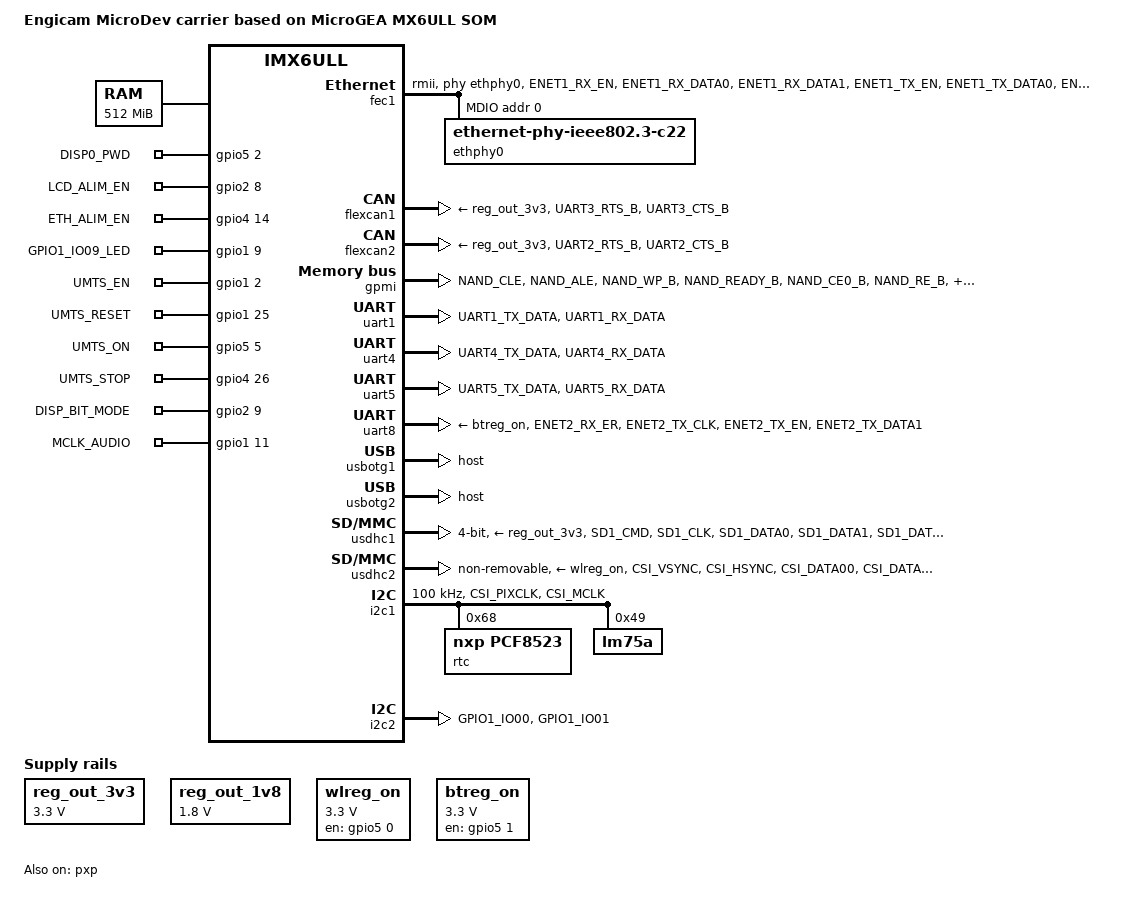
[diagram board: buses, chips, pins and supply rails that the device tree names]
/*
 * Copyright (C) 2015 Freescale Semiconductor, Inc.
 *
 * This program is free software; you can redistribute it and/or modify
 * it under the terms of the GNU General Public License version 2 as
 * published by the Free Software Foundation.
 */

/dts-v1/;

#include <dt-bindings/gpio/gpio.h>
#include <dt-bindings/input/input.h>
#include "imx6ull.dtsi"

/ {
	model = "Engicam MicroDev carrier based on MicroGEA MX6ULL SOM";
	compatible = "fsl,imx6ull-14x14-evk", "fsl,imx6ull";

	chosen {
		stdout-path = &uart1;
	};

	memory {
		reg = <0x80000000 0x20000000>;
	};

	reserved-memory {
		#address-cells = <1>;
		#size-cells = <1>;
		ranges;

		linux,cma {
			compatible = "shared-dma-pool";
			reusable;
			size = <0x4000000>;
			linux,cma-default;
		};
	};

	gpio_export {
		compatible = "gpio-export";
		#size-cells = <0>;
		
		DISP0_PWD {
			gpio-export,name = "DISP0_PWD";
			gpio-export,output = <1>;
			gpios = <&gpio5 2 0>;
		};	

		LCD_ALIM_EN {
			gpio-export,name = "LCD_ALIM_EN";
			gpio-export,output = <1>;
			gpios = <&gpio2 8 0>;
		};	

		ETH_ALIM_EN {
			gpio-export,name = "ETH_ALIM_EN";
			gpio-export,output = <1>;
			gpios = <&gpio4 14 0>;
		};	

		GPIO1_IO09_LED {
			gpio-export,name = "GPIO1_IO09_LED";
			gpio-export,output = <1>;
			gpios = <&gpio1 9 0>;
		};	

		UMTS_EN {
			gpio-export,name = "UMTS_EN";
			gpio-export,output = <1>;
			gpios = <&gpio1 2 0>;
		};	

		UMTS_RESET {
			gpio-export,name = "UMTS_RESET";
			gpio-export,output = <1>;
			gpios = <&gpio1 25 0>;
		};	

		UMTS_ON {
			gpio-export,name = "UMTS_ON";
			gpio-export,output = <0>;
			gpios = <&gpio5 5 0>;
		};	

		UMTS_STOP {
			gpio-export,name = "UMTS_STOP";
			gpio-export,output = <0>;
			gpios = <&gpio4 26 0>;
		};	

		DISP_BIT_MODE {
			gpio-export,name = "DISP_BIT_MODE";
			gpio-export,output = <0>;
			gpios = <&gpio2 9 0>;
		};

		MCLK_AUDIO {
			gpio-export,name = "MCLK_AUDIO";
			gpio-export,output = <0>;
			gpios = <&gpio1 11 0>;
		};
	};


	backlight {
		compatible = "pwm-backlight";
		pwms = <&pwm8 0 100000>;
		brightness-levels = < 0  1  2  3  4  5  6  7  8  9
				     10 11 12 13 14 15 16 17 18 19
	   			     20 21 22 23 24 25 26 27 28 29
				     30 31 32 33 34 35 36 37 38 39
				     40 41 42 43 44 45 46 47 48 49
				     50 51 52 53 54 55 56 57 58 59
				     60 61 62 63 64 65 66 67 68 69
				     70 71 72 73 74 75 76 77 78 79
				     80 81 82 83 84 85 86 87 88 89
				     90 91 92 93 94 95 96 97 98 99
				    100>;
		default-brightness-level = <100>;
		status = "disabled";
	};

	pxp_v4l2 {
		compatible = "fsl,imx6ul-pxp-v4l2", "fsl,imx6sx-pxp-v4l2", "fsl,imx6sl-pxp-v4l2";
		status = "okay";
	};

	regulators {
		compatible = "simple-bus";
		#address-cells = <1>;
		#size-cells = <0>;

		reg_out_3v3: regulator@0 {
			compatible = "regulator-fixed";
			reg = <0>;
			regulator-name = "out-3v3";
			regulator-min-microvolt = <3300000>;
			regulator-max-microvolt = <3300000>;
		};

		reg_out_1v8: regulator@1 {
			compatible = "regulator-fixed";
			reg = <1>;
			regulator-name = "out-1v8";
			regulator-min-microvolt = <1800000>;
			regulator-max-microvolt = <1800000>;
		};

		wlreg_on: fixedregulator@100 {
			compatible = "regulator-fixed";
			regulator-name = "wlreg_on";
			gpio = <&gpio5 0 0>;
			startup-delay-us = <100>;
			enable-active-high;
			regulator-min-microvolt = <3300000>;
			regulator-max-microvolt = <3300000>;
			regulator-always-on;
		};

		btreg_on: fixedregulator@200 {
			compatible = "regulator-fixed";
			regulator-name = "btreg_on";
			gpio = <&gpio5 1 0>;
			startup-delay-us = <100>;
			enable-active-high;
			regulator-min-microvolt = <3300000>;
			regulator-max-microvolt = <3300000>;
			regulator-always-on;
		};
	};

};

&cpu0 {
	arm-supply = <&reg_arm>;
	soc-supply = <&reg_soc>;
};

&clks {
	assigned-clocks = <&clks IMX6UL_CLK_PLL4_AUDIO_DIV>;
	assigned-clock-rates = <786432000>;
};

&fec1 {
	pinctrl-names = "default";
	pinctrl-0 = <&pinctrl_enet1>;
	phy-mode = "rmii";
	phy-handle = <&ethphy0>;
	local-mac-address = [00 04 9F 01 1B B9];
	status = "okay";

	mdio {
		#address-cells = <1>;
		#size-cells = <0>;

		ethphy0: ethernet-phy@0 {
			compatible = "ethernet-phy-ieee802.3-c22";
			reg = <0>;
		};
	};

};


&flexcan1 {
	pinctrl-names = "default";
	pinctrl-0 = <&pinctrl_flexcan1>;
	xceiver-supply = <&reg_out_3v3>;
	status = "okay";
};

&flexcan2 {
	pinctrl-names = "default";
	pinctrl-0 = <&pinctrl_flexcan2>;
	xceiver-supply = <&reg_out_3v3>;
	status = "okay";
};

&gpc {
	fsl,cpu_pupscr_sw2iso = <0x2>;
	fsl,cpu_pupscr_sw = <0x1>;
	fsl,cpu_pdnscr_iso2sw = <0x1>;
	fsl,cpu_pdnscr_iso = <0x1>;
	fsl,wdog-reset = <1>; /* watchdog select of reset source */
	fsl,ldo-bypass = <1>; /* use ldo-bypass, u-boot will check it and configure */
};

&wdog1 {
	fsl,wdog_b;
};

&snvs_pwrkey {
	status = "disabled";
};

&gpmi {
	pinctrl-names = "default";
	pinctrl-0 = <&pinctrl_gpmi_nand_1>;
	status = "okay";
	fsl,legacy-bch-geometry;
	nand-on-flash-bbt;
};

&lcdif {
	pinctrl-names = "default";
	pinctrl-0 = <&pinctrl_lcdif_dat
		     &pinctrl_lcdif_ctrl>;
	display = <&display0>;
	status = "disabled";

	display0: display {
		bits-per-pixel = <32>;
		bus-width = <24>;

		display-timings {
                        native-mode = <&timing1>;
                        timing1: hsd100pxn1 {
                                clock-frequency = <50000000>;
                                hactive = <1024>;
                                vactive = <600>;
                                hback-porch = <160>;
                                hfront-porch = <160>;
                                vback-porch = <23>;
                                vfront-porch = <12>;
                                hsync-len = <70>;
                                vsync-len = <10>;

				hsync-active = <0>;
				vsync-active = <0>;
				de-active = <1>;
				pixelclk-active = <0>;
                        };
                };
	};
};


&pwm8 {
	pinctrl-names = "default";
	pinctrl-0 = <&pinctrl_pwm8>;
	status = "disabled";
};

&pxp {
	status = "okay";
};

&sai2 {
	pinctrl-names = "default";
	pinctrl-0 = <&pinctrl_sai2>;    
	status = "disabled";
};


&uart1 {
	pinctrl-names = "default";
	pinctrl-0 = <&pinctrl_uart1>;
	status = "okay";
};

&uart2 {
	pinctrl-names = "default";
	pinctrl-0 = <&pinctrl_uart2>;
	fsl,uart-has-rtscts;
	status = "disabled";
};

&uart4 {
	pinctrl-names = "default";
	pinctrl-0 = <&pinctrl_uart4>;
	status = "okay";
};

&uart5 {
	pinctrl-names = "default";
	pinctrl-0 = <&pinctrl_uart5>;
	status = "okay";
};

&uart8 {
	pinctrl-names = "default";
	pinctrl-0 = <&pinctrl_uart8>;
	vmmc-supply = <&btreg_on>;
	fsl,uart-has-rtscts;
	status = "okay";
};

&usbotg1 {
	dr_mode = "host";
	status = "okay";
};

&usbotg2 {
	dr_mode = "host";
	status = "okay";
};

&usdhc1 {
	pinctrl-names = "default";
	pinctrl-0 = <&pinctrl_usdhc1>;
	max-frequency = <25000000>;
	bus-width = <4>;
	cd-gpios = <&gpio1 19 GPIO_ACTIVE_LOW>;
	vmmc-supply = <&reg_out_3v3>;
	enable-sdio-wakeup;
	keep-power-in-suspend;
	status = "okay";
};


&usdhc2 {
	pinctrl-names = "default";
	pinctrl-0 = <&pinctrl_usdhc2>;
	max-frequency = <20000000>;
	no-1-8-v;
	non-removable;
	vmmc-supply = <&wlreg_on>;
	status = "okay";
};

&i2c1 {
	clock-frequency = <100000>;
	pinctrl-names = "default";
	pinctrl-0 = <&pinctrl_i2c1>;
	status = "okay";

	rtc: pcf8523@68 {
		compatible = "nxp,pcf8523";
		reg = <0x68>;
	};

	lm75a@49 {
		compatible = "lm75a";
		reg = <0x49>;
	};
};

&i2c2 {
	clock_frequency = <100000>;
	pinctrl-names = "default";
	pinctrl-0 = <&pinctrl_i2c2>;
	status = "okay";
};

&iomuxc {
	pinctrl-names = "default";
	pinctrl-0 = <&pinctrl_hog_1>;
	imx6ul-evk {
		pinctrl_hog_1: hoggrp-1 {
			fsl,pins = <
				MX6UL_PAD_GPIO1_IO03__REF_CLK_32K  	0x1b090
				MX6UL_PAD_UART1_RTS_B__GPIO1_IO19  	0x17059 /*CD sdhc1 */
				MX6UL_PAD_SNVS_TAMPER2__GPIO5_IO02 	0x1b0b0 /* DISP0_PWD */
				MX6UL_PAD_ENET2_RX_DATA0__GPIO2_IO08 	0x1b0b0 /* LCD_ALIM_EN */
				MX6UL_PAD_SNVS_TAMPER0__GPIO5_IO00   	0x1b0b0 /* WL_REF_ON */
				MX6UL_PAD_SNVS_TAMPER1__GPIO5_IO01   	0x1b0b0 /* BT_REF_ON */
				MX6UL_PAD_NAND_CE1_B__GPIO4_IO14   	0x1b0b0 /* ETH_ALIM_EN */
				MX6UL_PAD_GPIO1_IO09__GPIO1_IO09   	0x1b0b0 /*GPIO1_IO09_LED*/
				MX6UL_PAD_GPIO1_IO02__GPIO1_IO02	0x1b0b0 /*UMTS_EN*/  
				MX6UL_PAD_UART3_RX_DATA__GPIO1_IO25	0x1b0b0 /*UMTS_RESET*/
				MX6UL_PAD_SNVS_TAMPER5__GPIO5_IO05	0x1b0b0 /*UMTS_ON*/
				MX6UL_PAD_CSI_DATA05__GPIO4_IO26	0x1b0b0 /*UMTS_STOP*/
				MX6UL_PAD_ENET2_RX_DATA1__GPIO2_IO09    0x1b0b0 /*DISP_BIT_MODE*/
				MX6UL_PAD_JTAG_TMS__GPIO1_IO11          0x1b0b0 /*MCLK AUDIO*/

			>;
		};

		pinctrl_enet1: enet1grp {
			fsl,pins = <
				MX6UL_PAD_ENET1_RX_EN__ENET1_RX_EN	0x1b0b0
				MX6UL_PAD_ENET1_RX_DATA0__ENET1_RDATA00	0x1b0b0
				MX6UL_PAD_ENET1_RX_DATA1__ENET1_RDATA01	0x1b0b0
				MX6UL_PAD_ENET1_TX_EN__ENET1_TX_EN	0x1b0b0
				MX6UL_PAD_ENET1_TX_DATA0__ENET1_TDATA00	0x1b0b0
				MX6UL_PAD_ENET1_TX_DATA1__ENET1_TDATA01	0x1b0b0
				MX6UL_PAD_ENET1_TX_CLK__ENET1_REF_CLK1	0x4001b011
				MX6UL_PAD_GPIO1_IO07__ENET1_MDC		0x1b0b0
				MX6UL_PAD_GPIO1_IO06__ENET1_MDIO	0x1b0b0
			>;
		};

		pinctrl_enet2: enet2grp {
			fsl,pins = <
				MX6UL_PAD_ENET2_RX_EN__ENET2_RX_EN	0x1b0b0
				MX6UL_PAD_ENET2_RX_ER__GPIO2_IO15	0x1b0b0		/* ENET_nRST */
				MX6UL_PAD_ENET2_RX_DATA0__ENET2_RDATA00	0x1b0b0
				MX6UL_PAD_ENET2_RX_DATA1__ENET2_RDATA01	0x1b0b0
				MX6UL_PAD_ENET2_TX_EN__ENET2_TX_EN	0x1b0b0
				MX6UL_PAD_ENET2_TX_DATA0__ENET2_TDATA00	0x1b0b0
				MX6UL_PAD_ENET2_TX_DATA1__ENET2_TDATA01	0x1b0b0
				MX6UL_PAD_GPIO1_IO05__ENET2_REF_CLK2	0x4001b031
			>;
		};

		pinctrl_flexcan1: flexcan1grp{
			fsl,pins = <
				MX6UL_PAD_UART3_RTS_B__FLEXCAN1_RX	0x1b020
				MX6UL_PAD_UART3_CTS_B__FLEXCAN1_TX	0x1b020
			>;
		};

		pinctrl_flexcan2: flexcan2grp{
			fsl,pins = <
				MX6UL_PAD_UART2_RTS_B__FLEXCAN2_RX	0x1b020
				MX6UL_PAD_UART2_CTS_B__FLEXCAN2_TX	0x1b020
			>;
		};		


		pinctrl_gpmi_nand_1: gpmi-nand-1 {
			fsl,pins = <
				MX6UL_PAD_NAND_CLE__RAWNAND_CLE         0xb0b1
				MX6UL_PAD_NAND_ALE__RAWNAND_ALE         0xb0b1
				MX6UL_PAD_NAND_WP_B__RAWNAND_WP_B       0xb0b1
				MX6UL_PAD_NAND_READY_B__RAWNAND_READY_B 0xb000
				MX6UL_PAD_NAND_CE0_B__RAWNAND_CE0_B     0xb0b1
				MX6UL_PAD_NAND_RE_B__RAWNAND_RE_B       0xb0b1
				MX6UL_PAD_NAND_WE_B__RAWNAND_WE_B       0xb0b1
				MX6UL_PAD_NAND_DATA00__RAWNAND_DATA00   0xb0b1
				MX6UL_PAD_NAND_DATA01__RAWNAND_DATA01   0xb0b1
				MX6UL_PAD_NAND_DATA02__RAWNAND_DATA02   0xb0b1
				MX6UL_PAD_NAND_DATA03__RAWNAND_DATA03   0xb0b1
				MX6UL_PAD_NAND_DATA04__RAWNAND_DATA04   0xb0b1
				MX6UL_PAD_NAND_DATA05__RAWNAND_DATA05   0xb0b1
				MX6UL_PAD_NAND_DATA06__RAWNAND_DATA06   0xb0b1
				MX6UL_PAD_NAND_DATA07__RAWNAND_DATA07   0xb0b1
			>;
		};

		pinctrl_lcdif_dat: lcdifdatgrp {
			fsl,pins = <
				MX6UL_PAD_LCD_DATA00__LCDIF_DATA00  0x79
				MX6UL_PAD_LCD_DATA01__LCDIF_DATA01  0x79
				MX6UL_PAD_LCD_DATA02__LCDIF_DATA02  0x79
				MX6UL_PAD_LCD_DATA03__LCDIF_DATA03  0x79
				MX6UL_PAD_LCD_DATA04__LCDIF_DATA04  0x79
				MX6UL_PAD_LCD_DATA05__LCDIF_DATA05  0x79
				MX6UL_PAD_LCD_DATA06__LCDIF_DATA06  0x79
				MX6UL_PAD_LCD_DATA07__LCDIF_DATA07  0x79
				MX6UL_PAD_LCD_DATA08__LCDIF_DATA08  0x79
				MX6UL_PAD_LCD_DATA09__LCDIF_DATA09  0x79
				MX6UL_PAD_LCD_DATA10__LCDIF_DATA10  0x79
				MX6UL_PAD_LCD_DATA11__LCDIF_DATA11  0x79
				MX6UL_PAD_LCD_DATA12__LCDIF_DATA12  0x79
				MX6UL_PAD_LCD_DATA13__LCDIF_DATA13  0x79
				MX6UL_PAD_LCD_DATA14__LCDIF_DATA14  0x79
				MX6UL_PAD_LCD_DATA15__LCDIF_DATA15  0x79
				MX6UL_PAD_LCD_DATA16__LCDIF_DATA16  0x79
				MX6UL_PAD_LCD_DATA17__LCDIF_DATA17  0x79
				MX6UL_PAD_LCD_DATA18__LCDIF_DATA18  0x79
				MX6UL_PAD_LCD_DATA19__LCDIF_DATA19  0x79
				MX6UL_PAD_LCD_DATA20__LCDIF_DATA20  0x79
				MX6UL_PAD_LCD_DATA21__LCDIF_DATA21  0x79
				MX6UL_PAD_LCD_DATA22__LCDIF_DATA22  0x79
				MX6UL_PAD_LCD_DATA23__LCDIF_DATA23  0x79
			>;
		};

		pinctrl_lcdif_ctrl: lcdifctrlgrp {
			fsl,pins = <
				MX6UL_PAD_LCD_CLK__LCDIF_CLK	    0x79
				MX6UL_PAD_LCD_ENABLE__LCDIF_ENABLE  0x79
				MX6UL_PAD_LCD_HSYNC__LCDIF_HSYNC    0x79
				MX6UL_PAD_LCD_VSYNC__LCDIF_VSYNC    0x79
			>;
		};

		pinctrl_pwm8: pwm8grp {
			fsl,pins = <
				MX6UL_PAD_ENET1_RX_ER__PWM8_OUT   0x110b0
			>;
		};

		pinctrl_uart1: uart1grp {
			fsl,pins = <
				MX6UL_PAD_UART1_TX_DATA__UART1_DCE_TX 0x1b0b1
				MX6UL_PAD_UART1_RX_DATA__UART1_DCE_RX 0x1b0b1
			>;
		};

		pinctrl_uart2: uart2grp {
			fsl,pins = <
				MX6UL_PAD_UART2_TX_DATA__UART2_DCE_TX	0x1b0b1
				MX6UL_PAD_UART2_RX_DATA__UART2_DCE_RX	0x1b0b1
				MX6UL_PAD_UART2_CTS_B__UART2_DCE_CTS	0x1b0b1
			>;
		};

		pinctrl_uart4: uart4grp {
			fsl,pins = <
				MX6UL_PAD_UART4_TX_DATA__UART4_DCE_TX 0x1b0b1
				MX6UL_PAD_UART4_RX_DATA__UART4_DCE_RX 0x1b0b1
			>;
		};

		pinctrl_uart5: uart5grp {
			fsl,pins = <
				MX6UL_PAD_UART5_TX_DATA__UART5_DCE_TX 0x1b0b1
				MX6ULL_PAD_UART5_RX_DATA__UART5_DCE_RX 0x1b0b1
			>;
		};

		pinctrl_uart8: uart8grp {
				fsl,pins = <
				MX6UL_PAD_ENET2_RX_ER__UART8_DCE_RTS	0x1b0b1
				MX6UL_PAD_ENET2_TX_CLK__UART8_DCE_CTS	0x1b0b1
				MX6UL_PAD_ENET2_TX_EN__UART8_DCE_RX	0x1b0b1
				MX6UL_PAD_ENET2_TX_DATA1__UART8_DCE_TX	0x1b0b1
			>;
		};

		pinctrl_usdhc1: usdhc1grp {
			fsl,pins = <
				MX6UL_PAD_SD1_CMD__USDHC1_CMD     0x17059
				MX6UL_PAD_SD1_CLK__USDHC1_CLK     0x10059
				MX6UL_PAD_SD1_DATA0__USDHC1_DATA0 0x17059
				MX6UL_PAD_SD1_DATA1__USDHC1_DATA1 0x17059
				MX6UL_PAD_SD1_DATA2__USDHC1_DATA2 0x17059
				MX6UL_PAD_SD1_DATA3__USDHC1_DATA3 0x17059
			>;
		};

		pinctrl_usdhc1_100mhz: usdhc1grp100mhz {
			fsl,pins = <
				MX6UL_PAD_SD1_CMD__USDHC1_CMD     0x170b9
				MX6UL_PAD_SD1_CLK__USDHC1_CLK     0x100b9
				MX6UL_PAD_SD1_DATA0__USDHC1_DATA0 0x170b9
				MX6UL_PAD_SD1_DATA1__USDHC1_DATA1 0x170b9
				MX6UL_PAD_SD1_DATA2__USDHC1_DATA2 0x170b9
				MX6UL_PAD_SD1_DATA3__USDHC1_DATA3 0x170b9
			>;
		};

		pinctrl_usdhc1_200mhz: usdhc1grp200mhz {
			fsl,pins = <
				MX6UL_PAD_SD1_CMD__USDHC1_CMD     0x170f9
				MX6UL_PAD_SD1_CLK__USDHC1_CLK     0x100f9
				MX6UL_PAD_SD1_DATA0__USDHC1_DATA0 0x170f9
				MX6UL_PAD_SD1_DATA1__USDHC1_DATA1 0x170f9
				MX6UL_PAD_SD1_DATA2__USDHC1_DATA2 0x170f9
				MX6UL_PAD_SD1_DATA3__USDHC1_DATA3 0x170f9
			>;
		};

		pinctrl_usdhc2: usdhc2grp {
			fsl,pins = <
				MX6UL_PAD_CSI_VSYNC__USDHC2_CLK     0x10051
				MX6UL_PAD_CSI_HSYNC__USDHC2_CMD     0x17058
				MX6UL_PAD_CSI_DATA00__USDHC2_DATA0  0x17058
				MX6UL_PAD_CSI_DATA01__USDHC2_DATA1  0x17058
				MX6UL_PAD_CSI_DATA02__USDHC2_DATA2  0x17058
				MX6UL_PAD_CSI_DATA03__USDHC2_DATA3  0x17058
			>;
		};


		pinctrl_i2c1: i2c1grp {
			fsl,pins = <
				MX6UL_PAD_CSI_PIXCLK__I2C1_SCL 0x4001b8b0
				MX6UL_PAD_CSI_MCLK__I2C1_SDA 0x4001b8b0
			>;
		};

		pinctrl_i2c2: i2c2grp {
			fsl,pins = <
				MX6UL_PAD_GPIO1_IO00__I2C2_SCL 0x4001b8b0
				MX6UL_PAD_GPIO1_IO01__I2C2_SDA 0x4001b8b0
			>;
		};

		pinctrl_ecspi: ecspigrp {
			fsl,pins = <
				MX6UL_PAD_CSI_DATA04__ECSPI1_SCLK      	0x70a1
				MX6UL_PAD_CSI_DATA05__ECSPI1_SS0 	0x70a1
				MX6UL_PAD_CSI_DATA06__ECSPI1_MOSI   	0x70a1
				MX6UL_PAD_CSI_DATA07__ECSPI1_MISO   	0x70a1
			>;
		};

		pinctrl_sai2: sai2grp {
			fsl,pins = <
				MX6UL_PAD_JTAG_TCK__SAI2_RX_DATA	0x130b0
				MX6UL_PAD_JTAG_TMS__CCM_CLKO1		0x4001b031
				MX6UL_PAD_JTAG_TDI__SAI2_TX_BCLK	0x17088
				MX6UL_PAD_JTAG_TDO__SAI2_TX_SYNC	0x17088
				MX6UL_PAD_JTAG_TRST_B__SAI2_TX_DATA	0x120b0
			>;
		};

	};
};
